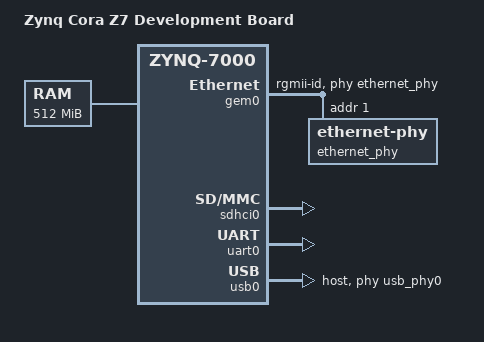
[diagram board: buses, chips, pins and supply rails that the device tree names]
/*
 * Digilent Cora Z7 board DTS
 *
 *  Copyright (C) 2016 Digilent
 *
 * SPDX-License-Identifier:	GPL-2.0+
 */
/dts-v1/;
#include "zynq-7000.dtsi"

/ {
	model = "Zynq Cora Z7 Development Board";
	compatible = "digilent,zynq-coraz7", "xlnx,zynq-7000";

	aliases {
		ethernet0 = &gem0;
		serial0 = &uart0;
		mmc0 = &sdhci0;
	};

	memory@0 {
		device_type = "memory";
		reg = <0x0 0x20000000>;
	};

	chosen {
		bootargs = "console=ttyPS0,115200 root=/dev/mmcblk0p2 rw earlyprintk rootfstype=ext4 rootwait";
		stdout-path = "serial0:115200n8";
	};

	usb_phy0: phy0@e0002000 {
		compatible = "ulpi-phy";
		#phy-cells = <0>;
		reg = <0xe0002000 0x1000>;
		view-port = <0x0170>;
		drv-vbus;
	};

	fpga_axi: fpga-axi@0 {
		compatible = "simple-bus";
		#address-cells = <0x1>;
		#size-cells = <0x1>;
		ranges;
	};
};

/delete-node/ &cpu1;

&clkc {
	ps-clk-frequency = <50000000>;
};

&gem0 {
	status = "okay";
	phy-mode = "rgmii-id";
	phy-handle = <&ethernet_phy>;

	ethernet_phy: ethernet-phy@0 { 
		reg = <1>;
		device_type = "ethernet-phy";
	};
};

&sdhci0 {
	u-boot,dm-pre-reloc;
	status = "okay";
};

&uart0 {
	u-boot,dm-pre-reloc;
	status = "okay";
};

&usb0 {
	status = "okay";
	dr_mode = "host";
	usb-phy = <&usb_phy0>;
};

